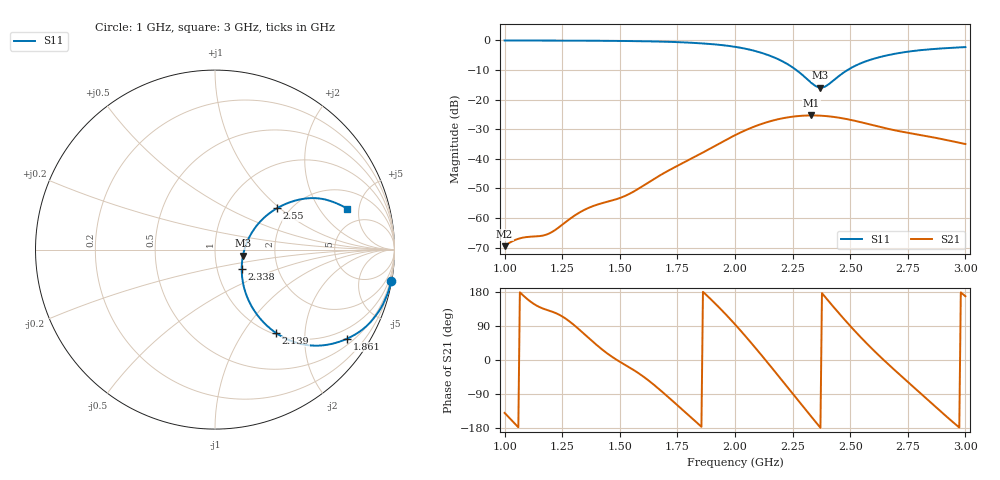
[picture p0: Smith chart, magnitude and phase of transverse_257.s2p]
! TOUCHSTONE file generated by CST MICROWAVE STUDIO
! Date and time: Tue Mar 11 13:58:05 2025
! Project name: transverse.cst
! Parameters = {Fracture=1; B=12.5; D=160; F=5; Feed=2.85625; L=100; M=20; R=0.384908; S=1; Theta=270; length=57.125; wave=114.25}
! Header version: 2024
! Port assignment regex: !\s*Touchstone port\s*([0-9]+)\s*=\s*(CST MWS port|CST DES external port|CST DES block port)\s*(.+)\s* \(\"(.*)\"\)(\s*mode\s*([0-9]+))?.*
! Touchstone port assignment:
! Touchstone port 1 = CST MWS port 1 ("")
! Touchstone port 2 = CST MWS port 2 ("")
# GHz S MA R 50
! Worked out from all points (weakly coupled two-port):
!   303 points, 1 GHz to 3 GHz, reference 50 ohm
!   highest |S21| = -25.35 dB at 2.331 GHz (marker M1); lowest = -69.5 dB at 1 GHz (marker M2)
!   lowest |S11| = -16.0 dB at 2.371 GHz (marker M3), VSWR 1.38, Z = 68.2 - j4.83 ohm
!   |S11| at or under -10 dB: 2.266 GHz to 2.489 GHz (222.5 MHz wide, 9.36 % of centre)
!   S12 and S22 are empty: the file has one direction only
!   S11 on the Smith chart (normalised r, x): 1 GHz: 0, -11; 1.861 GHz: 0.67, -3.14; 2.139 GHz: 1.03, -1.42; 2.338 GHz: 1.31, -0.29; 2.55 GHz: 1.72, +0.96; 3 GHz: 3.33, +3.75
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1  0.9978 -10.0  0.0003345 -139.6  0 0.0  0 0.0
1.06623  0.9966 -11.0  0.0004536 178.6  0 0.0  0 0.0
1.15894  0.9952 -12.3  0.0004993 137.6  0 0.0  0 0.0
1.19205  0.9947 -12.9  0.0005449 130.4  0 0.0  0 0.0
1.33775  0.9895 -15.6  0.001321 73.0  0 0.0  0 0.0
1.39073  0.9872 -16.7  0.001627 44.3  0 0.0  0 0.0
1.52318  0.9776 -20.1  0.002363 -13.0  0 0.0  0 0.0
1.66887  0.9566 -24.8  0.005101 -76.0  0 0.0  0 0.0
1.86093  0.8877 -34.0  0.01279 180.0  0 0.0  0 0.0
2  0.7792 -43.4  0.02506 94.1  0 0.0  0 0.0
2.07285  0.6844 -49.1  0.0337 43.3  0 0.0  0 0.0
2.13907  0.5738 -53.8  0.04159 -5.1  0 0.0  0 0.0
2.23841  0.3752 -57.1  0.05079 -79.7  0 0.0  0 0.0
2.33113  0.1922 -39.3  0.05403 -149.4  0 0.0  0 0.0
2.33775  0.1831 -35.7  0.05403 -154.4  0 0.0  0 0.0
2.37086  0.1594 -12.5  0.05355 -178.9  0 0.0  0 0.0
2.39735  0.1715 6.9  0.05263 161.8  0 0.0  0 0.0
2.46358  0.272 30.2  0.04861 114.8  0 0.0  0 0.0
2.54967  0.4165 33.7  0.04123 57.5  0 0.0  0 0.0
2.66887  0.5689 29.8  0.03179 -13.2  0 0.0  0 0.0
2.82119  0.6939 23.1  0.02459 -96.7  0 0.0  0 0.0
3  0.7708 17.3  0.01777 168.2  0 0.0  0 0.0
